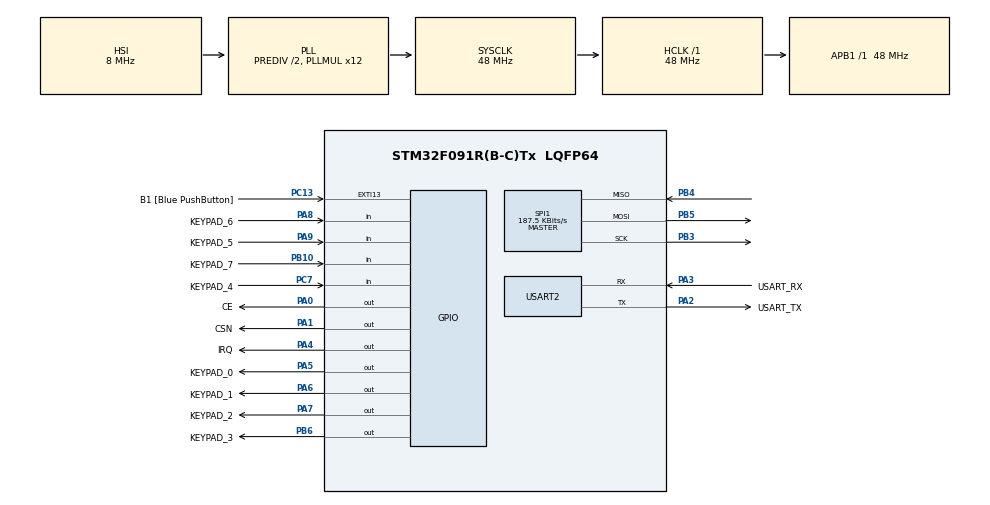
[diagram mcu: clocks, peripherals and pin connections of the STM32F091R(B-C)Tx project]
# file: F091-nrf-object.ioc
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Mcu.Family=STM32F0
Mcu.Name=STM32F091R(B-C)Tx
Mcu.Package=LQFP64
NVIC.EXTI4_15_IRQn=true\:0\:0\:false\:false\:true\:true\:true
PA0.GPIO_Label=CE
PA0.Signal=GPIO_Output
PA1.GPIO_Label=CSN
PA1.Signal=GPIO_Output
PA13.GPIO_Label=TMS
PA13.Mode=Serial_Wire
PA13.Signal=SYS_SWDIO
PA14.GPIO_Label=TCK
PA14.Mode=Serial_Wire
PA14.Signal=SYS_SWCLK
PA2.GPIO_Label=USART_TX
PA2.GPIO_Mode=GPIO_MODE_AF_PP
PA2.GPIO_PuPd=GPIO_NOPULL
PA2.GPIO_Speed=GPIO_SPEED_FREQ_LOW
PA2.Mode=Asynchronous
PA2.Signal=USART2_TX
PA3.GPIO_Label=USART_RX
PA3.GPIO_Mode=GPIO_MODE_AF_PP
PA3.GPIO_PuPd=GPIO_NOPULL
PA3.GPIO_Speed=GPIO_SPEED_FREQ_LOW
PA3.Mode=Asynchronous
PA3.Signal=USART2_RX
PA4.GPIO_Label=IRQ
PA4.Signal=GPIO_Output
PA5.GPIO_Label=KEYPAD_0
PA5.GPIO_Mode=GPIO_MODE_OUTPUT_PP
PA5.GPIO_PuPd=GPIO_NOPULL
PA5.GPIO_Speed=GPIO_SPEED_FREQ_LOW
PA5.PinState=GPIO_PIN_SET
PA5.Signal=GPIO_Output
PA6.GPIO_Label=KEYPAD_1
PA6.PinState=GPIO_PIN_SET
PA6.Signal=GPIO_Output
PA7.GPIO_Label=KEYPAD_2
PA7.PinState=GPIO_PIN_SET
PA7.Signal=GPIO_Output
PA8.GPIO_Label=KEYPAD_6
PA8.GPIO_PuPd=GPIO_PULLDOWN
PA8.Signal=GPIO_Input
PA9.GPIO_Label=KEYPAD_5
PA9.GPIO_PuPd=GPIO_PULLDOWN
PA9.Signal=GPIO_Input
PB10.GPIO_Label=KEYPAD_7
PB10.GPIO_PuPd=GPIO_PULLDOWN
PB10.Signal=GPIO_Input
PB3.Mode=Full_Duplex_Master
PB3.Signal=SPI1_SCK
PB4.Mode=Full_Duplex_Master
PB4.Signal=SPI1_MISO
PB5.Mode=Full_Duplex_Master
PB5.Signal=SPI1_MOSI
PB6.GPIO_Label=KEYPAD_3
PB6.PinState=GPIO_PIN_SET
PB6.Signal=GPIO_Output
PC13.GPIO_Label=B1 [Blue PushButton]
PC13.GPIO_ModeDefaultEXTI=GPIO_MODE_IT_FALLING
PC13.Signal=GPXTI13
PC14OSC32_IN.Mode=LSE-External-Oscillator
PC14OSC32_IN.Signal=RCC_OSC32_IN
PC15OSC32_OUT.Mode=LSE-External-Oscillator
PC15OSC32_OUT.Signal=RCC_OSC32_OUT
PC7.GPIO_Label=KEYPAD_4
PC7.GPIO_PuPd=GPIO_PULLDOWN
PC7.Signal=GPIO_Input
PF0-OSC_IN.Mode=HSE-External-Clock-Source
PF0-OSC_IN.Signal=RCC_OSC_IN
PF1-OSC_OUT.Signal=RCC_OSC_OUT
ProjectManager.HeapSize=0x200
ProjectManager.StackSize=0x400
ProjectManager.TargetToolchain=STM32CubeIDE
RCC.AHBFreq_Value=48000000
RCC.APB1Freq_Value=48000000
RCC.APB1TimFreq_Value=48000000
RCC.FLatency-AdvancedSettings=FLASH_LATENCY_1
RCC.HCLKFreq_Value=48000000
RCC.PLLDivider=RCC_PREDIV_DIV2
RCC.PLLMUL=RCC_PLL_MUL12
RCC.PREFETCH_ENABLE-AdvancedSettings=1
RCC.SYSCLKFreq_VALUE=48000000
RCC.SYSCLKSource=RCC_SYSCLKSOURCE_PLLCLK
SPI1.BaudRatePrescaler=SPI_BAUDRATEPRESCALER_256
SPI1.CalculateBaudRate=187.5 KBits/s
SPI1.DataSize=SPI_DATASIZE_8BIT
SPI1.Direction=SPI_DIRECTION_2LINES
SPI1.Mode=SPI_MODE_MASTER
SPI1.VirtualType=VM_MASTER
USART2.VirtualMode=VM_ASYNC
USART2.VirtualMode-Asynchronous=VM_ASYNC
board=NUCLEO-F091RC

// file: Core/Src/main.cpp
/* USER CODE BEGIN Header */
/**
  ******************************************************************************
  * @file           : main.c
  * @brief          : Main program body
  ******************************************************************************
  * @attention
  *
  * <h2><center>&copy; Copyright (c) 2020 STMicroelectronics.
  * All rights reserved.</center></h2>
  *
  * This software component is licensed by ST under BSD 3-Clause license,
  * the "License"; You may not use this file except in compliance with the
  * License. You may obtain a copy of the License at:
  *                        opensource.org/licenses/BSD-3-Clause
  *
  ******************************************************************************
  */
/* USER CODE END Header */
#include "main.h"
#include "spi.h"
#include "usart.h"
#include "gpio.h"

/* USER CODE BEGIN Includes */
#include "Nrf24.h"
#include "stdio.h"
/* USER CODE END Includes */

void SystemClock_Config(void);

/* USER CODE BEGIN 0 */
extern "C" int __io_putchar(int ch)
{
	if (ch == '\n') {
		uint8_t cr = '\r';
		HAL_UART_Transmit(&huart2, (uint8_t*)&cr, 1, HAL_MAX_DELAY);
	}
    HAL_UART_Transmit(&huart2, (uint8_t*)&ch, 1, HAL_MAX_DELAY);
    return 1;
}
/* USER CODE END 0 */

int main(void)
{

  /* MCU Configuration--------------------------------------------------------*/

  /* Reset of all peripherals, Initializes the Flash interface and the Systick. */
  HAL_Init();

  /* Configure the system clock */
  SystemClock_Config();

  /* Initialize all configured peripherals */
  MX_GPIO_Init();
  MX_USART2_UART_Init();
  MX_SPI1_Init();
  /* USER CODE BEGIN 2 */
  Nrf24 nrf(&hspi1, CSN_GPIO_Port, CSN_Pin, CE_GPIO_Port, CE_Pin, power_0, dataRate250kbps, 124, pipe0, true, 32, size3bytes);
  nrf.setRxAddressForPipe(pipe0, (uint8_t*)"Odb");
  nrf.setTxAddress((uint8_t*)"Nad");
  nrf.txMode();
  char c = 'x';
  const char keys[4][4] = {
	  {'1', '2', '3', 'A'},
	  {'4', '5', '6', 'B'},
	  {'7', '8', '9', 'C'},
	  {'*', '0', '#', 'D'}
  };
  GPIO_TypeDef* const ports[2][4] = {
	{KEYPAD_4_GPIO_Port, KEYPAD_5_GPIO_Port, KEYPAD_6_GPIO_Port, KEYPAD_7_GPIO_Port},
	{KEYPAD_0_GPIO_Port, KEYPAD_1_GPIO_Port, KEYPAD_2_GPIO_Port, KEYPAD_3_GPIO_Port}
  };
  const uint16_t pins[2][4] = {
	{KEYPAD_4_Pin, KEYPAD_5_Pin, KEYPAD_6_Pin, KEYPAD_7_Pin},
	{KEYPAD_0_Pin, KEYPAD_1_Pin, KEYPAD_2_Pin, KEYPAD_3_Pin}
  };
  /* USER CODE END 2 */

  /* Infinite loop */
  /* USER CODE BEGIN WHILE */
  while (1)
  {
	  c = 'x';
	  for (uint8_t i=0; i<4; i++) {
		  for(uint8_t j=0; j<4; j++) {
			  if (HAL_GPIO_ReadPin(ports[0][i], pins[0][i]) == GPIO_PIN_SET) {
				  HAL_GPIO_WritePin(ports[1][j], pins[1][j], GPIO_PIN_RESET);
				  if (HAL_GPIO_ReadPin(ports[0][i], pins[0][i]) == GPIO_PIN_RESET) {
					  c = keys[j][i];
					  break;
				  }
			  }
		  }
		  HAL_GPIO_WritePin(KEYPAD_0_GPIO_Port, KEYPAD_0_Pin, GPIO_PIN_SET);
		  HAL_GPIO_WritePin(KEYPAD_1_GPIO_Port, KEYPAD_1_Pin, GPIO_PIN_SET);
		  HAL_GPIO_WritePin(KEYPAD_2_GPIO_Port, KEYPAD_2_Pin, GPIO_PIN_SET);
		  HAL_GPIO_WritePin(KEYPAD_3_GPIO_Port, KEYPAD_3_Pin, GPIO_PIN_SET);
		  if (c != 'x') break;
	  }

	  nrf.writeTxPayload((uint8_t*)&c, 1);
	  HAL_Delay(1);
	  nrf.waitTx();
	  HAL_Delay(100);
    /* USER CODE END WHILE */

  }
}

void SystemClock_Config(void)
{
  RCC_OscInitTypeDef RCC_OscInitStruct = {0};
  RCC_ClkInitTypeDef RCC_ClkInitStruct = {0};
  RCC_PeriphCLKInitTypeDef PeriphClkInit = {0};

  /** Initializes the RCC Oscillators according to the specified parameters
  * in the RCC_OscInitTypeDef structure.
  */
  RCC_OscInitStruct.OscillatorType = RCC_OSCILLATORTYPE_HSI;
  RCC_OscInitStruct.HSIState = RCC_HSI_ON;
  RCC_OscInitStruct.HSICalibrationValue = RCC_HSICALIBRATION_DEFAULT;
  RCC_OscInitStruct.PLL.PLLState = RCC_PLL_ON;
  RCC_OscInitStruct.PLL.PLLSource = RCC_PLLSOURCE_HSI;
  RCC_OscInitStruct.PLL.PLLMUL = RCC_PLL_MUL12;
  RCC_OscInitStruct.PLL.PREDIV = RCC_PREDIV_DIV2;
  if (HAL_RCC_OscConfig(&RCC_OscInitStruct) != HAL_OK)
  {
    Error_Handler();
  }
  /** Initializes the CPU, AHB and APB buses clocks
  */
  RCC_ClkInitStruct.ClockType = RCC_CLOCKTYPE_HCLK|RCC_CLOCKTYPE_SYSCLK
                              |RCC_CLOCKTYPE_PCLK1;
  RCC_ClkInitStruct.SYSCLKSource = RCC_SYSCLKSOURCE_PLLCLK;
  RCC_ClkInitStruct.AHBCLKDivider = RCC_SYSCLK_DIV1;
  RCC_ClkInitStruct.APB1CLKDivider = RCC_HCLK_DIV1;

  if (HAL_RCC_ClockConfig(&RCC_ClkInitStruct, FLASH_LATENCY_1) != HAL_OK)
  {
    Error_Handler();
  }
  PeriphClkInit.PeriphClockSelection = RCC_PERIPHCLK_USART2;
  PeriphClkInit.Usart2ClockSelection = RCC_USART2CLKSOURCE_PCLK1;
  if (HAL_RCCEx_PeriphCLKConfig(&PeriphClkInit) != HAL_OK)
  {
    Error_Handler();
  }
}

void Error_Handler(void)
{
  /* USER CODE BEGIN Error_Handler_Debug */
  /* User can add his own implementation to report the HAL error return state */

  __disable_irq();
  while (1)
  {
	  printf("Error_Handler");
	  HAL_Delay(50);
  }
  /* USER CODE END Error_Handler_Debug */
}

#ifdef  USE_FULL_ASSERT
/**
  * @brief  Reports the name of the source file and the source line number
  *         where the assert_param error has occurred.
  * @param  file: pointer to the source file name
  * @param  line: assert_param error line source number
  * @retval None
  */
void assert_failed(uint8_t *file, uint32_t line)
{
  /* USER CODE BEGIN 6 */
  /* User can add his own implementation to report the file name and line number,
     ex: printf("Wrong parameters value: file %s on line %d\r\n", file, line) */
	printf("Wrong parameters value: file %s on line %ld\r\n", file, line);
	Error_Handler();
  /* USER CODE END 6 */
}
#endif /* USE_FULL_ASSERT */

/************************ (C) COPYRIGHT STMicroelectronics *****END OF FILE****/
